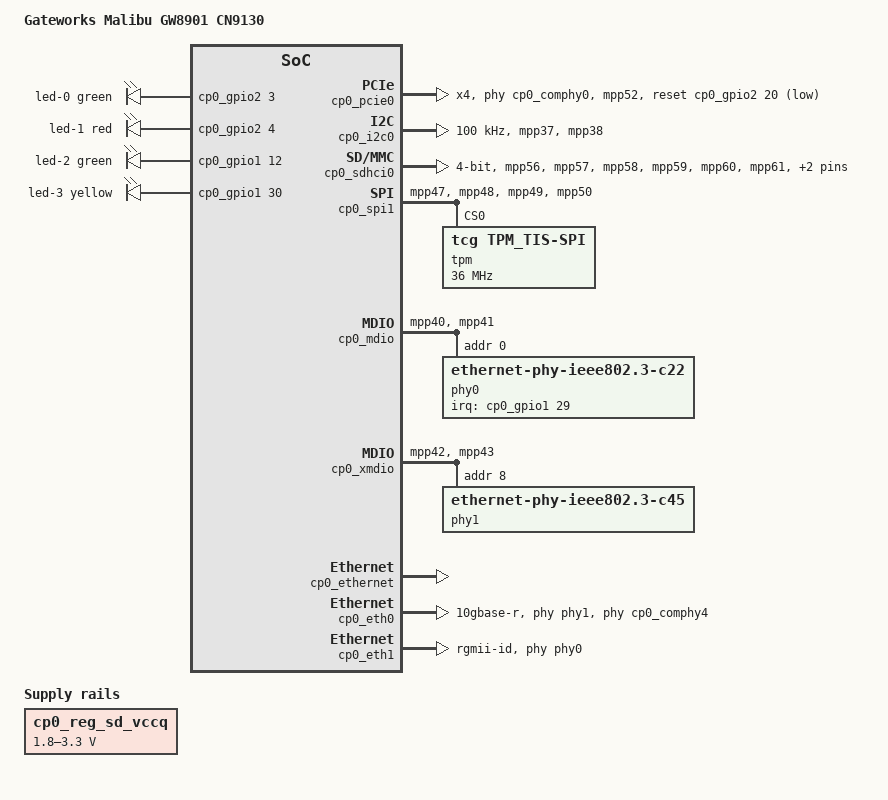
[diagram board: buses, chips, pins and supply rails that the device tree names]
// SPDX-License-Identifier: GPL-2.0+
/*
 * Copyright (C) 2022 Gateworks Corporation
 */

#include "cn9130-malibu.dtsi"
#include <dt-bindings/gpio/gpio.h>
#include <dt-bindings/input/linux-event-codes.h>
#include <dt-bindings/leds/common.h>

/ {
	model = "Gateworks Malibu GW8901 CN9130";

	aliases {
		i2c0 = &cp0_i2c0;
		ethernet0 = &cp0_eth0;
		ethernet1 = &cp0_eth1;
		gpio1 = &cp0_gpio1;
		gpio2 = &cp0_gpio2;
	};

	/* microSD: 1.8V / 3.3V VDDIO select */
	cp0_reg_sd_vccq: cp0_sd_vccq@0 {
		pinctrl-names = "default";
		pinctrl-0 = <&cp0_reg_sd_vccq_pins>;
		compatible = "regulator-gpio";
		regulator-name = "cp0_sd_vccq";
		regulator-min-microvolt = <1800000>;
		regulator-max-microvolt = <3300000>;
		gpios-states = <0>; // defaults to 0 (3.3V) on init vs 1 (1.8V)
		gpios = <&cp0_gpio2 0 GPIO_ACTIVE_HIGH>; /* CP_MPP[32] */
		states = <1800000 0x1
			  3300000 0x0>;
	};

#if 0
	gpio-keys {
		compatible = "gpio-keys";

		key-erased {
			label = "key_erased";
			linux,code = <BTN_2>;
			interrupt-parent = <&gsc>;
			interrupts = <1>;
		};

		key-eeprom-wp {
			label = "eeprom_wp";
			linux,code = <BTN_3>;
			interrupt-parent = <&gsc>;
			interrupts = <2>;
		};
	};
#endif

	led-controller {
		pinctrl-names = "default";
		pinctrl-0 = <&cp0_led_pins>;
		compatible = "gpio-leds";

		led-0 {
			function = LED_FUNCTION_HEARTBEAT;
			color = <LED_COLOR_ID_GREEN>;
			gpios = <&cp0_gpio2 3 GPIO_ACTIVE_HIGH>; /* CP_MPP[35] */
			default-state = "on";
			linux,default-trigger = "heartbeat";
		};

		led-1 {
			function = LED_FUNCTION_STATUS;
			color = <LED_COLOR_ID_RED>;
			gpios = <&cp0_gpio2 4 GPIO_ACTIVE_HIGH>; /* CP_MPP[36] */
			default-state = "off";
		};

		led-2 {
			function = LED_FUNCTION_STATUS;
			color = <LED_COLOR_ID_GREEN>;
			gpios = <&cp0_gpio1 12 GPIO_ACTIVE_HIGH>; /* CP_MPP[12] */
			default-state = "off";
		};

		led-3 {
			function = LED_FUNCTION_STATUS;
			color = <LED_COLOR_ID_YELLOW>;
			gpios = <&cp0_gpio1 30 GPIO_ACTIVE_HIGH>; /* CP_MPP[30] */
			default-state = "off";
		};
	};
};

&cp0_pcie0 {
	pinctrl-names = "default";
	pinctrl-0 = <&cp0_pcie0_reset_pins>;
	reset-gpios = <&cp0_gpio2 20 GPIO_ACTIVE_LOW>;
	num-lanes = <4>;
	num-viewport = <8>;
	/* Generic PHY, providing serdes lanes */
	phys = <&cp0_comphy0 0
		&cp0_comphy1 0
		&cp0_comphy2 0
		&cp0_comphy3 0>;
	iommu-map =
		<0x0   &smmu 0x480 0x20>,
		<0x100 &smmu 0x4a0 0x20>,
		<0x200 &smmu 0x4c0 0x20>;
	iommu-map-mask = <0x031f>;
	status = "okay";
};

&cp0_syscon0 {
	cp0_pinctrl: pinctrl {
		compatible = "marvell,cp115-standalone-pinctrl";

		cp0_gsc_pins: cp0-gsc-pins-0 {
			marvell,pins = "mpp28";
			marvell,function = "gpio";
		};

		cp0_i2c0_pins: cp0-i2c-pins-0 {
			marvell,pins = "mpp37", "mpp38";
			marvell,function = "i2c0";
		};

		cp0_led_pins: cp0-led-pins-0 {
			marvell,pins = "mpp35", "mpp36";
			marvell,function = "gpio";
		};

		cp0_pcie0_reset_pins: cp0-pcie0-reset-pins-0 {
			marvell,pins = "mpp52";
			marvell,function = "gpio";
		};

		cp0_reg_sd_vccq_pins: cp0-reg-sd-vccq-pins-0 {
			marvell,pins = "mpp32";
			marvell,function = "gpio";
		};

		cp0_sdhci_cd_pins: cp0-sdhci-cd-pins {
			marvell,pins = "mpp55";
			marvell,function = "gpio";
		};

		cp0_sdhci_pins: cp0-sdhi-pins-0 {
			marvell,pins = "mpp56", "mpp57", "mpp58",
				       "mpp59", "mpp60", "mpp61";
			marvell,function = "sdio";
		};

		cp0_smi_pins: cp0-smi-pins-0 {
			marvell,pins = "mpp40", "mpp41";
			marvell,function = "ge";
		};

		cp0_spi1_pins: cp0-spi-pins-1 {
			marvell,pins = "mpp47", "mpp48", "mpp49", "mpp50";
			marvell,function = "spi1";
		};

		cp0_xsmi_pins: cp0-xsmi-pins-0 {
			marvell,pins = "mpp42", "mpp43";
			marvell,function = "xg";
		};
	};
};

&cp0_gpio1 {
	gpio-line-names = "",
			  "",
			  "",
			  "",
			  "",
			  "",
			  "",
			  "",
			  "",
			  "",
			  "",
			  "",
			  "",
			  "",
			  "",
			  "",
			  "",
			  "",
			  "",
			  "",
			  "",
			  "",
			  "",
			  "",
			  "",
			  "",
			  "",
			  "led_gbe#",
			  "",
			  "",
			  "",
			  "m2_pwren";
};

&cp0_i2c0 {
	pinctrl-names = "default";
	pinctrl-0 = <&cp0_i2c0_pins>;
	status = "okay";
	clock-frequency = <100000>;

#if 0
	gsc: gsc@20 {
		pinctrl-names = "default";
		pinctrl-0 = <&cp0_gsc_pins>;
		compatible = "gw,gsc";
		reg = <0x20>;
		interrupt-parent = <&cp0_gpio1>;
		interrupts = <28 IRQ_TYPE_EDGE_FALLING>;
		interrupt-controller;
		#interrupt-cells = <1>;

		adc {
			compatible = "gw,gsc-adc";
			#address-cells = <1>;
			#size-cells = <0>;

			channel@6 {
				gw,mode = <0>;
				reg = <0x06>;
				label = "temp";
			};

			channel@16 {
				gw,mode = <4>;
				reg = <0x16>;
				label = "fan_tach";
			};

			channel@82 {
				gw,mode = <2>;
				reg = <0x82>;
				label = "vdd_5p0";
				gw,voltage-divider-ohms = <10000 10000>;
			};

			channel@84 {
				gw,mode = <2>;
				reg = <0x84>;
				label = "vdd_3p3";
				gw,voltage-divider-ohms = <10000 10000>;
			};

			channel@86 {
				gw,mode = <2>;
				reg = <0x86>;
				label = "vdd_2p5";
				gw,voltage-divider-ohms = <10000 10000>;
			};

			channel@88 {
				gw,mode = <2>;
				reg = <0x88>;
				label = "vdd_2p0";
			};

			channel@8c {
				gw,mode = <2>;
				reg = <0x8c>;
				label = "vdd_1p8";
			};

			channel@8e {
				gw,mode = <2>;
				reg = <0x8e>;
				label = "vdd_1p2";
			};

			channel@90 {
				gw,mode = <2>;
				reg = <0x90>;
				label = "vdd_ap";
			};

			channel@92 {
				gw,mode = <2>;
				reg = <0x92>;
				label = "vdd_0p7";
			};
		};

		fan-controller@2c {
			#address-cells = <1>;
			#size-cells = <0>;
			compatible = "gw,gsc-fan";
			reg = <0x0a>;
		};
	};

	eeprom@50 {
		compatible = "atmel,24c02";
		reg = <0x50>;
		pagesize = <16>;
	};

	eeprom@51 {
		compatible = "atmel,24c02";
		reg = <0x51>;
		pagesize = <16>;
	};

	eeprom@52 {
		compatible = "atmel,24c02";
		reg = <0x52>;
		pagesize = <16>;
	};

	eeprom@53 {
		compatible = "atmel,24c02";
		reg = <0x53>;
		pagesize = <16>;
	};

	rtc@68 {
		compatible = "dallas,ds1672";
		reg = <0x68>;
	};
#endif
};

/* microSD */
&cp0_sdhci0 {
	pinctrl-names = "default";
	pinctrl-0 = <&cp0_sdhci_pins &cp0_sdhci_cd_pins>;
	bus-width = <4>;
	cd-gpios = <&cp0_gpio2 23 GPIO_ACTIVE_HIGH>; /* CP_MPP[55] */
#if 0 // 1.8V/3.3V switch non functional
	vqmmc-supply = <&cp0_reg_sd_vccq>; /* 1.8V/3.3V switch */
#else
	no-1-8-v;
#endif
	status = "okay";
};

&cp0_spi1 {
	pinctrl-names = "default";
	pinctrl-0 = <&cp0_spi1_pins>;
	reg = <0x700680 0x50>,		/* control */
	      <0x2000000 0x1000000>;	/* CS0 */
	status = "okay";

	tpm@0 {
		compatible = "tcg,tpm_tis-spi";
		#address-cells = <0x1>;
		#size-cells = <0x1>;
		reg = <0x0>;
		spi-max-frequency = <36000000>;
	};
};

&cp0_mdio {
	pinctrl-names = "default";
	pinctrl-0 = <&cp0_smi_pins>;
	status = "okay";

	phy0: ethernet-phy@0 {
		compatible = "ethernet-phy-ieee802.3-c22";
		interrupt-parent = <&cp0_gpio1>;
		interrupts = <29 IRQ_TYPE_LEVEL_LOW>;
		reg = <0>;
	};
};

&cp0_xmdio {
	pinctrl-names = "default";
	pinctrl-0 = <&cp0_xsmi_pins>;
	status = "okay";

	phy1: ethernet-phy@8 {
		compatible = "ethernet-phy-ieee802.3-c45";
		reg = <8>;
	};
};

&cp0_ethernet {
	status = "okay";
};

/* 10GbE XFI AQR113C */
&cp0_eth0 {
	status = "okay";
	phy = <&phy1>;
	phy-mode = "10gbase-r";
	phys = <&cp0_comphy4 0>;
};

/* 1GbE RGMII GPY111 */
&cp0_eth1 {
	status = "okay";
	phy = <&phy0>;
	phy-mode = "rgmii-id";
};
